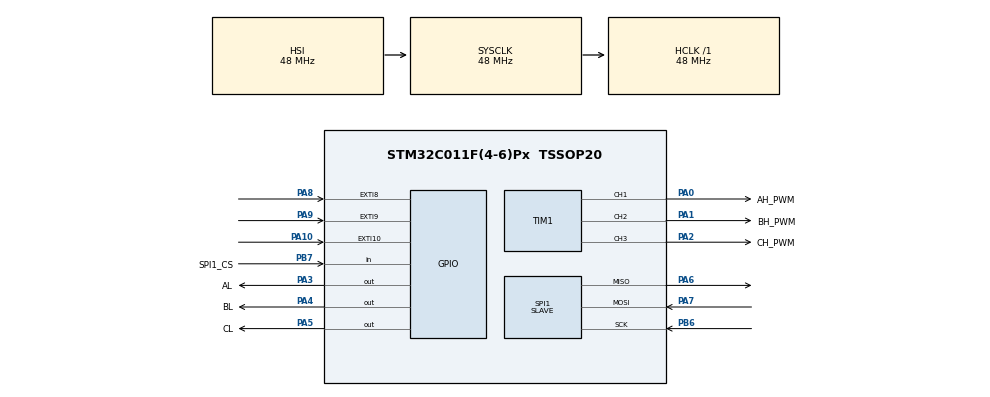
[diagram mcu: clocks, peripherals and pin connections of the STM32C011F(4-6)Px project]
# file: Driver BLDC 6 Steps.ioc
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Dma.Request0=SPI1_RX
Dma.SPI1_RX.0.Direction=DMA_PERIPH_TO_MEMORY
Dma.SPI1_RX.0.EventEnable=DISABLE
Dma.SPI1_RX.0.Instance=DMA1_Channel1
Dma.SPI1_RX.0.MemDataAlignment=DMA_MDATAALIGN_BYTE
Dma.SPI1_RX.0.MemInc=DMA_MINC_ENABLE
Dma.SPI1_RX.0.Mode=DMA_NORMAL
Dma.SPI1_RX.0.PeriphDataAlignment=DMA_PDATAALIGN_BYTE
Dma.SPI1_RX.0.PeriphInc=DMA_PINC_DISABLE
Dma.SPI1_RX.0.Polarity=HAL_DMAMUX_REQ_GEN_RISING
Dma.SPI1_RX.0.Priority=DMA_PRIORITY_MEDIUM
Dma.SPI1_RX.0.RequestNumber=1
Dma.SPI1_RX.0.SignalID=NONE
Dma.SPI1_RX.0.SyncEnable=DISABLE
Dma.SPI1_RX.0.SyncPolarity=HAL_DMAMUX_SYNC_NO_EVENT
Dma.SPI1_RX.0.SyncRequestNumber=1
Dma.SPI1_RX.0.SyncSignalID=NONE
Mcu.Family=STM32C0
Mcu.Name=STM32C011F(4-6)Px
Mcu.Package=TSSOP20
NVIC.DMA1_Channel1_IRQn=true\:2\:0\:true\:false\:true\:false\:true\:true
NVIC.EXTI4_15_IRQn=true\:0\:0\:false\:false\:true\:true\:true\:true
NVIC.TIM17_IRQn=true\:1\:0\:true\:false\:true\:true\:true\:true
PA0.GPIO_Label=AH_PWM
PA0.Signal=S_TIM1_CH1
PA1.GPIO_Label=BH_PWM
PA1.Signal=S_TIM1_CH2
PA10\ [PA12].GPIO_ModeDefaultEXTI=GPIO_MODE_IT_RISING_FALLING
PA10\ [PA12].GPIO_PuPd=GPIO_NOPULL
PA10\ [PA12].Signal=GPXTI10
PA2.GPIO_Label=CH_PWM
PA2.Signal=S_TIM1_CH3
PA3.GPIO_Label=AL
PA3.Signal=GPIO_Output
PA4.GPIO_Label=BL
PA4.Signal=GPIO_Output
PA5.GPIO_Label=CL
PA5.Signal=GPIO_Output
PA6.Mode=Full_Duplex_Slave
PA6.Signal=SPI1_MISO
PA7.Mode=Full_Duplex_Slave
PA7.Signal=SPI1_MOSI
PA8.GPIO_ModeDefaultEXTI=GPIO_MODE_IT_RISING_FALLING
PA8.Signal=GPXTI8
PA9\ [PA11].GPIO_ModeDefaultEXTI=GPIO_MODE_IT_RISING_FALLING
PA9\ [PA11].GPIO_PuPd=GPIO_NOPULL
PA9\ [PA11].Signal=GPXTI9
PB6.Mode=Full_Duplex_Slave
PB6.Signal=SPI1_SCK
PB7.GPIO_Label=SPI1_CS
PB7.Signal=GPIO_Input
PC14-OSCX_IN\ (PC14).Mode=HSE-External-Oscillator-REMAPPED
PC14-OSCX_IN\ (PC14).Signal=RCC_OSCX_IN
PC15-OSCX_OUT\ (PC15).Mode=HSE-External-Oscillator-REMAPPED
PC15-OSCX_OUT\ (PC15).Signal=RCC_OSCX_OUT
ProjectManager.HeapSize=0x200
ProjectManager.StackSize=0x400
ProjectManager.TargetToolchain=MDK-ARM V5.39
RCC.ADCFreq_Value=48000000
RCC.AHBFreq_Value=48000000
RCC.CortexFreq_Value=48000000
RCC.EXTERNAL_CLOCK_VALUE=12288000
RCC.HCLKFreq_Value=48000000
RCC.HSE_VALUE=8000000
RCC.HSISYSCLKDivider=RCC_HSI_DIV1
RCC.HSI_VALUE=48000000
RCC.LSE_VALUE=32768
RCC.SYSCLKFreq_VALUE=48000000
SH.S_TIM1_CH1.0=TIM1_CH1,PWM Generation1 CH1
SH.S_TIM1_CH2.0=TIM1_CH2,PWM Generation2 CH2
SH.S_TIM1_CH3.0=TIM1_CH3,PWM Generation3 CH3
SPI1.Direction=SPI_DIRECTION_2LINES
SPI1.Mode=SPI_MODE_SLAVE
SPI1.VirtualType=VM_SLAVE
TIM1.Channel-PWM\ Generation1\ CH1=TIM_CHANNEL_1
TIM1.Channel-PWM\ Generation2\ CH2=TIM_CHANNEL_2
TIM1.Channel-PWM\ Generation3\ CH3=TIM_CHANNEL_3
TIM14.Prescaler=47
TIM16.Prescaler=47
TIM17.Prescaler=47
VP_SYS_VS_PINREMAP.Mode=PINREMAP
VP_SYS_VS_PINREMAP_10_12.Mode=PINREMAP_10_12
VP_TIM14_VS_ClockSourceINT.Mode=Enable_Timer
VP_TIM16_VS_ClockSourceINT.Mode=Enable_Timer
VP_TIM17_VS_ClockSourceINT.Mode=Enable_Timer
VP_TIM1_VS_ClockSourceINT.Mode=Internal
board=custom

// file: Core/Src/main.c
/* USER CODE BEGIN Header */
/**
  ******************************************************************************
  * @file           : main.c
  * @brief          : Main program body
  ******************************************************************************
  * @attention
  *
  * Copyright (c) 2025 STMicroelectronics.
  * All rights reserved.
  *
  * This software is licensed under terms that can be found in the LICENSE file
  * in the root directory of this software component.
  * If no LICENSE file comes with this software, it is provided AS-IS.
  *
  ******************************************************************************
  */
/* USER CODE END Header */
#include "main.h"

/* USER CODE BEGIN Includes */
#include "trapezoidal_control.h"
/* USER CODE END Includes */

SPI_HandleTypeDef hspi1;
DMA_HandleTypeDef hdma_spi1_rx;

TIM_HandleTypeDef htim1;
TIM_HandleTypeDef htim14;
TIM_HandleTypeDef htim16;
TIM_HandleTypeDef htim17;

/* USER CODE BEGIN PV */
uint8_t spi_rx_buffer[2];
/* USER CODE END PV */

void SystemClock_Config(void);
static void MX_GPIO_Init(void);
static void MX_DMA_Init(void);
static void MX_TIM1_Init(void);
static void MX_SPI1_Init(void);
static void MX_TIM14_Init(void);
static void MX_TIM16_Init(void);
static void MX_TIM17_Init(void);

/* USER CODE BEGIN 0 */
void HAL_SPI_TxCpltCallback(SPI_HandleTypeDef * hspi){
	if(hspi->Instance == SPI1){
		uint16_t duty_cycle_value = (uint16_t)((spi_rx_buffer[0] << 8)|(spi_rx_buffer[1]));
		if(duty_cycle_value > 10){
			uint16_t arr_value = __HAL_TIM_GET_AUTORELOAD(TIM_PWM_SOURCE);
			if(duty_cycle_value > arr_value){
				duty_cycle_value = arr_value;
			}
			__HAL_TIM_SET_COMPARE(TIM_PWM_SOURCE, TIM_PWM_PHASE_A, duty_cycle_value);
			__HAL_TIM_SET_COMPARE(TIM_PWM_SOURCE, TIM_PWM_PHASE_B, duty_cycle_value);
			__HAL_TIM_SET_COMPARE(TIM_PWM_SOURCE, TIM_PWM_PHASE_C, duty_cycle_value);
		}
		HAL_SPI_Receive_DMA(&hspi1, spi_rx_buffer, 2);
	}
}
/* USER CODE END 0 */

int main(void)
{

  /* MCU Configuration--------------------------------------------------------*/

  /* Reset of all peripherals, Initializes the Flash interface and the Systick. */
  HAL_Init();

  /* Configure the system clock */
  SystemClock_Config();

  /* Initialize all configured peripherals */
  MX_GPIO_Init();
  MX_DMA_Init();
  MX_TIM1_Init();
  MX_SPI1_Init();
  MX_TIM14_Init();
  MX_TIM16_Init();
  MX_TIM17_Init();
  /* USER CODE BEGIN 2 */
	__HAL_TIM_MOE_ENABLE(&htim1);
	HAL_TIM_Base_Start(&htim16);

  /* USER CODE END 2 */

  /* Infinite loop */
  while (1)
  {

  }
}

void SystemClock_Config(void)
{
  RCC_OscInitTypeDef RCC_OscInitStruct = {0};
  RCC_ClkInitTypeDef RCC_ClkInitStruct = {0};

  __HAL_FLASH_SET_LATENCY(FLASH_LATENCY_1);

  /** Initializes the RCC Oscillators according to the specified parameters
  * in the RCC_OscInitTypeDef structure.
  */
  RCC_OscInitStruct.OscillatorType = RCC_OSCILLATORTYPE_HSI;
  RCC_OscInitStruct.HSIState = RCC_HSI_ON;
  RCC_OscInitStruct.HSIDiv = RCC_HSI_DIV1;
  RCC_OscInitStruct.HSICalibrationValue = RCC_HSICALIBRATION_DEFAULT;
  if (HAL_RCC_OscConfig(&RCC_OscInitStruct) != HAL_OK)
  {
    Error_Handler();
  }

  /** Initializes the CPU, AHB and APB buses clocks
  */
  RCC_ClkInitStruct.ClockType = RCC_CLOCKTYPE_HCLK|RCC_CLOCKTYPE_SYSCLK
                              |RCC_CLOCKTYPE_PCLK1;
  RCC_ClkInitStruct.SYSCLKSource = RCC_SYSCLKSOURCE_HSI;
  RCC_ClkInitStruct.SYSCLKDivider = RCC_SYSCLK_DIV1;
  RCC_ClkInitStruct.AHBCLKDivider = RCC_HCLK_DIV1;
  RCC_ClkInitStruct.APB1CLKDivider = RCC_APB1_DIV1;

  if (HAL_RCC_ClockConfig(&RCC_ClkInitStruct, FLASH_LATENCY_1) != HAL_OK)
  {
    Error_Handler();
  }
}

static void MX_SPI1_Init(void)
{

  /* SPI1 parameter configuration*/
  hspi1.Instance = SPI1;
  hspi1.Init.Mode = SPI_MODE_SLAVE;
  hspi1.Init.Direction = SPI_DIRECTION_2LINES;
  hspi1.Init.DataSize = SPI_DATASIZE_8BIT;
  hspi1.Init.CLKPolarity = SPI_POLARITY_LOW;
  hspi1.Init.CLKPhase = SPI_PHASE_1EDGE;
  hspi1.Init.NSS = SPI_NSS_SOFT;
  hspi1.Init.FirstBit = SPI_FIRSTBIT_MSB;
  hspi1.Init.TIMode = SPI_TIMODE_DISABLE;
  hspi1.Init.CRCCalculation = SPI_CRCCALCULATION_DISABLE;
  hspi1.Init.CRCPolynomial = 7;
  hspi1.Init.CRCLength = SPI_CRC_LENGTH_DATASIZE;
  hspi1.Init.NSSPMode = SPI_NSS_PULSE_DISABLE;
  if (HAL_SPI_Init(&hspi1) != HAL_OK)
  {
    Error_Handler();
  }

}

static void MX_TIM1_Init(void)
{

  TIM_ClockConfigTypeDef sClockSourceConfig = {0};
  TIM_MasterConfigTypeDef sMasterConfig = {0};
  TIM_OC_InitTypeDef sConfigOC = {0};
  TIM_BreakDeadTimeConfigTypeDef sBreakDeadTimeConfig = {0};

  htim1.Instance = TIM1;
  htim1.Init.Prescaler = 0;
  htim1.Init.CounterMode = TIM_COUNTERMODE_UP;
  htim1.Init.Period = 65535;
  htim1.Init.ClockDivision = TIM_CLOCKDIVISION_DIV1;
  htim1.Init.RepetitionCounter = 0;
  htim1.Init.AutoReloadPreload = TIM_AUTORELOAD_PRELOAD_DISABLE;
  if (HAL_TIM_Base_Init(&htim1) != HAL_OK)
  {
    Error_Handler();
  }
  sClockSourceConfig.ClockSource = TIM_CLOCKSOURCE_INTERNAL;
  if (HAL_TIM_ConfigClockSource(&htim1, &sClockSourceConfig) != HAL_OK)
  {
    Error_Handler();
  }
  if (HAL_TIM_PWM_Init(&htim1) != HAL_OK)
  {
    Error_Handler();
  }
  sMasterConfig.MasterOutputTrigger = TIM_TRGO_RESET;
  sMasterConfig.MasterOutputTrigger2 = TIM_TRGO2_RESET;
  sMasterConfig.MasterSlaveMode = TIM_MASTERSLAVEMODE_DISABLE;
  if (HAL_TIMEx_MasterConfigSynchronization(&htim1, &sMasterConfig) != HAL_OK)
  {
    Error_Handler();
  }
  sConfigOC.OCMode = TIM_OCMODE_PWM1;
  sConfigOC.Pulse = 0;
  sConfigOC.OCPolarity = TIM_OCPOLARITY_HIGH;
  sConfigOC.OCNPolarity = TIM_OCNPOLARITY_HIGH;
  sConfigOC.OCFastMode = TIM_OCFAST_DISABLE;
  sConfigOC.OCIdleState = TIM_OCIDLESTATE_RESET;
  sConfigOC.OCNIdleState = TIM_OCNIDLESTATE_RESET;
  if (HAL_TIM_PWM_ConfigChannel(&htim1, &sConfigOC, TIM_CHANNEL_1) != HAL_OK)
  {
    Error_Handler();
  }
  if (HAL_TIM_PWM_ConfigChannel(&htim1, &sConfigOC, TIM_CHANNEL_2) != HAL_OK)
  {
    Error_Handler();
  }
  if (HAL_TIM_PWM_ConfigChannel(&htim1, &sConfigOC, TIM_CHANNEL_3) != HAL_OK)
  {
    Error_Handler();
  }
  sBreakDeadTimeConfig.OffStateRunMode = TIM_OSSR_DISABLE;
  sBreakDeadTimeConfig.OffStateIDLEMode = TIM_OSSI_DISABLE;
  sBreakDeadTimeConfig.LockLevel = TIM_LOCKLEVEL_OFF;
  sBreakDeadTimeConfig.DeadTime = 0;
  sBreakDeadTimeConfig.BreakState = TIM_BREAK_DISABLE;
  sBreakDeadTimeConfig.BreakPolarity = TIM_BREAKPOLARITY_HIGH;
  sBreakDeadTimeConfig.BreakFilter = 0;
  sBreakDeadTimeConfig.BreakAFMode = TIM_BREAK_AFMODE_INPUT;
  sBreakDeadTimeConfig.Break2State = TIM_BREAK2_DISABLE;
  sBreakDeadTimeConfig.Break2Polarity = TIM_BREAK2POLARITY_HIGH;
  sBreakDeadTimeConfig.Break2Filter = 0;
  sBreakDeadTimeConfig.Break2AFMode = TIM_BREAK_AFMODE_INPUT;
  sBreakDeadTimeConfig.AutomaticOutput = TIM_AUTOMATICOUTPUT_DISABLE;
  if (HAL_TIMEx_ConfigBreakDeadTime(&htim1, &sBreakDeadTimeConfig) != HAL_OK)
  {
    Error_Handler();
  }
  HAL_TIM_MspPostInit(&htim1);

}

static void MX_TIM14_Init(void)
{

  htim14.Instance = TIM14;
  htim14.Init.Prescaler = 47;
  htim14.Init.CounterMode = TIM_COUNTERMODE_UP;
  htim14.Init.Period = 65535;
  htim14.Init.ClockDivision = TIM_CLOCKDIVISION_DIV1;
  htim14.Init.AutoReloadPreload = TIM_AUTORELOAD_PRELOAD_DISABLE;
  if (HAL_TIM_Base_Init(&htim14) != HAL_OK)
  {
    Error_Handler();
  }

}

static void MX_TIM16_Init(void)
{

  htim16.Instance = TIM16;
  htim16.Init.Prescaler = 47;
  htim16.Init.CounterMode = TIM_COUNTERMODE_UP;
  htim16.Init.Period = 65535;
  htim16.Init.ClockDivision = TIM_CLOCKDIVISION_DIV1;
  htim16.Init.RepetitionCounter = 0;
  htim16.Init.AutoReloadPreload = TIM_AUTORELOAD_PRELOAD_DISABLE;
  if (HAL_TIM_Base_Init(&htim16) != HAL_OK)
  {
    Error_Handler();
  }

}

static void MX_TIM17_Init(void)
{

  htim17.Instance = TIM17;
  htim17.Init.Prescaler = 47;
  htim17.Init.CounterMode = TIM_COUNTERMODE_UP;
  htim17.Init.Period = 65535;
  htim17.Init.ClockDivision = TIM_CLOCKDIVISION_DIV1;
  htim17.Init.RepetitionCounter = 0;
  htim17.Init.AutoReloadPreload = TIM_AUTORELOAD_PRELOAD_DISABLE;
  if (HAL_TIM_Base_Init(&htim17) != HAL_OK)
  {
    Error_Handler();
  }

}

static void MX_DMA_Init(void)
{

  /* DMA controller clock enable */
  __HAL_RCC_DMA1_CLK_ENABLE();

  /* DMA interrupt init */
  /* DMA1_Channel1_IRQn interrupt configuration */
  HAL_NVIC_SetPriority(DMA1_Channel1_IRQn, 2, 0);
  HAL_NVIC_EnableIRQ(DMA1_Channel1_IRQn);

}

static void MX_GPIO_Init(void)
{
  GPIO_InitTypeDef GPIO_InitStruct = {0};

  /* GPIO Ports Clock Enable */
  __HAL_RCC_GPIOB_CLK_ENABLE();
  __HAL_RCC_GPIOC_CLK_ENABLE();
  __HAL_RCC_GPIOA_CLK_ENABLE();

  /*Configure GPIO pin Output Level */
  HAL_GPIO_WritePin(GPIOA, AL_Pin|BL_Pin|CL_Pin, GPIO_PIN_RESET);

  /*Configure GPIO pin : SPI1_CS_Pin */
  GPIO_InitStruct.Pin = SPI1_CS_Pin;
  GPIO_InitStruct.Mode = GPIO_MODE_INPUT;
  GPIO_InitStruct.Pull = GPIO_NOPULL;
  HAL_GPIO_Init(SPI1_CS_GPIO_Port, &GPIO_InitStruct);

  /*Configure GPIO pins : AL_Pin BL_Pin CL_Pin */
  GPIO_InitStruct.Pin = AL_Pin|BL_Pin|CL_Pin;
  GPIO_InitStruct.Mode = GPIO_MODE_OUTPUT_PP;
  GPIO_InitStruct.Pull = GPIO_NOPULL;
  GPIO_InitStruct.Speed = GPIO_SPEED_FREQ_LOW;
  HAL_GPIO_Init(GPIOA, &GPIO_InitStruct);

  /*Configure GPIO pins : PA8 PA9 PA10 */
  GPIO_InitStruct.Pin = GPIO_PIN_8|GPIO_PIN_9|GPIO_PIN_10;
  GPIO_InitStruct.Mode = GPIO_MODE_IT_RISING_FALLING;
  GPIO_InitStruct.Pull = GPIO_NOPULL;
  HAL_GPIO_Init(GPIOA, &GPIO_InitStruct);

  /* EXTI interrupt init*/
  HAL_NVIC_SetPriority(EXTI4_15_IRQn, 0, 0);
  HAL_NVIC_EnableIRQ(EXTI4_15_IRQn);

}

void Error_Handler(void)
{
  __disable_irq();
  while (1)
  {
  }
}
